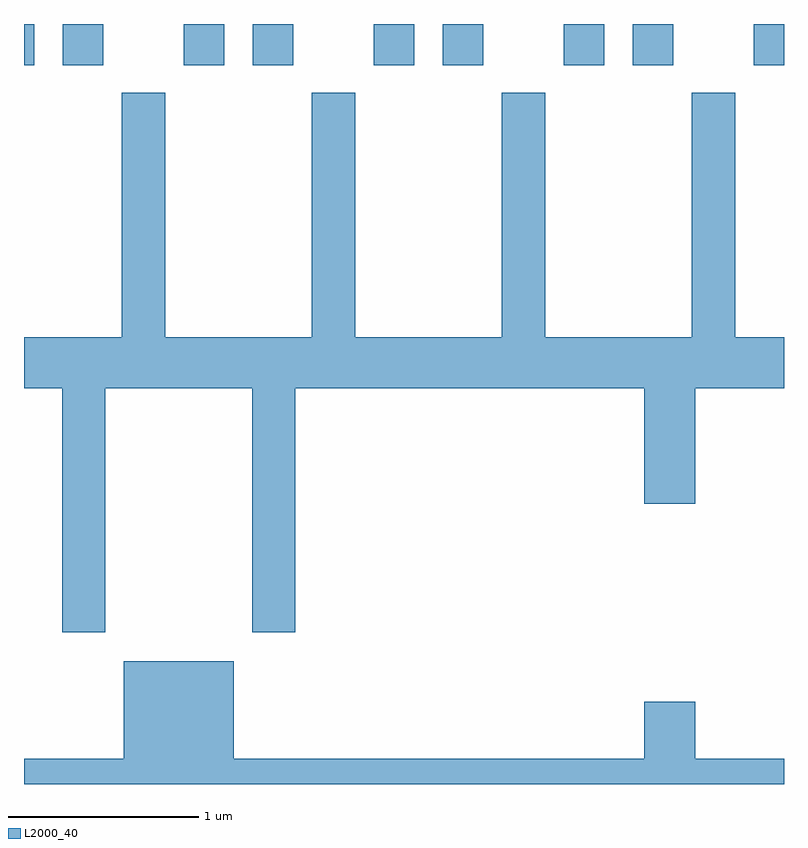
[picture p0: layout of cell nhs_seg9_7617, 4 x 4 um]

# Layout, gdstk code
import gdstk
lib = gdstk.Library(unit=1e-6, precision=1e-09)
def R(c, l, rs):  # rectangles x0, y0, x1, y1
    for r in rs: c.add(gdstk.rectangle(r[:2], r[2:], *l))
def P(c, l, *ps):  # polygons
    for p in ps: c.add(gdstk.Polygon(p, *l))
L2000_40 = (2000, 40)

nhs_seg9_7617 = lib.new_cell('nhs_seg9_7617')
R(nhs_seg9_7617, L2000_40, [(411.611,1960.216,411.664,1960.432), (411.816,1960.216,412.029,1960.432), (412.451,1960.216,412.664,1960.432), (412.816,1960.216,413.029,1960.432), (413.451,1960.216,413.664,1960.432), (413.816,1960.216,414.029,1960.432), (414.451,1960.216,414.664,1960.432), (414.816,1960.216,415.029,1960.432), (415.451,1960.216,415.611,1960.432)])
P(nhs_seg9_7617, L2000_40, [(412.039,1958.516),(412.811,1958.516),(412.811,1957.231),(413.039,1957.231),(413.039,1958.516),(414.876,1958.516),(414.876,1957.906),(415.144,1957.906),(415.144,1958.516),(415.611,1958.516),(415.611,1958.784),(415.354,1958.784),(415.354,1960.069),(415.126,1960.069),(415.126,1958.784),(414.354,1958.784),(414.354,1960.069),(414.126,1960.069),(414.126,1958.784),(413.354,1958.784),(413.354,1960.069),(413.126,1960.069),(413.126,1958.784),(412.354,1958.784),(412.354,1960.069),(412.126,1960.069),(412.126,1958.784),(411.611,1958.784),(411.611,1958.516),(411.811,1958.516),(411.811,1957.231),(412.039,1957.231)],
  [(415.611,1956.564),(415.144,1956.564),(415.144,1956.864),(414.876,1956.864),(414.876,1956.564),(412.714,1956.564),(412.714,1957.079),(412.136,1957.079),(412.136,1956.564),(411.611,1956.564),(411.611,1956.432),(415.611,1956.432)])

lib.write_gds('nhs_seg9_7617.gds')
